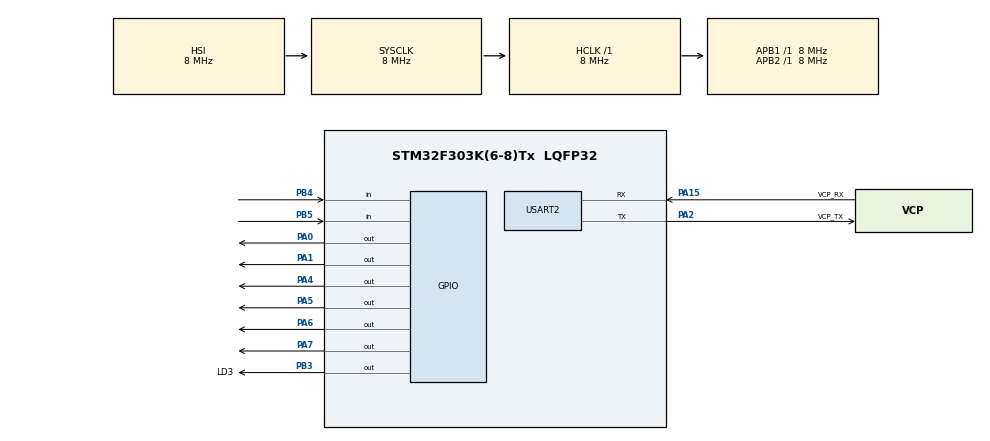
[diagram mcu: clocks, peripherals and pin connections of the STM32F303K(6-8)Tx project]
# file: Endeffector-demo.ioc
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Mcu.Family=STM32F3
Mcu.Name=STM32F303K(6-8)Tx
Mcu.Package=LQFP32
NVIC.PriorityGroup=NVIC_PRIORITYGROUP_4
PA0.Signal=GPIO_Output
PA1.Signal=GPIO_Output
PA13.GPIO_Label=SWDIO
PA13.Mode=Serial_Wire
PA13.Signal=SYS_JTMS-SWDIO
PA14.GPIO_Label=SWCLK
PA14.Mode=Serial_Wire
PA14.Signal=SYS_JTCK-SWCLK
PA15.GPIO_Label=VCP_RX
PA15.Mode=Asynchronous
PA15.Signal=USART2_RX
PA2.GPIO_Label=VCP_TX
PA2.Mode=Asynchronous
PA2.Signal=USART2_TX
PA4.Signal=GPIO_Output
PA5.Signal=GPIO_Output
PA6.Signal=GPIO_Output
PA7.Signal=GPIO_Output
PB3.GPIO_Label=LD3
PB3.Signal=GPIO_Output
PB4.Signal=GPIO_Input
PB5.Signal=GPIO_Input
PF0\ /\ OSC_IN.GPIO_Label=MCO
PF0\ /\ OSC_IN.Mode=HSE-External-Clock-Source
PF0\ /\ OSC_IN.Signal=RCC_OSC_IN
ProjectManager.HeapSize=0x200
ProjectManager.StackSize=0x400
ProjectManager.TargetToolchain=STM32CubeIDE
RCC.AHBFreq_Value=8000000
RCC.APB1Freq_Value=8000000
RCC.APB2Freq_Value=8000000
RCC.CortexFreq_Value=8000000
RCC.HSE_VALUE=8000000
RCC.HSI_VALUE=8000000
RCC.SYSCLKFreq_VALUE=8000000
USART2.VirtualMode-Asynchronous=VM_ASYNC
board=NUCLEO-F303K8

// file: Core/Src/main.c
/* USER CODE BEGIN Header */
/**
  ******************************************************************************
  * @file           : main.c
  * @brief          : Main program body
  ******************************************************************************
  * @attention
  *
  * <h2><center>&copy; Copyright (c) 2024 STMicroelectronics.
  * All rights reserved.</center></h2>
  *
  * This software component is licensed by ST under BSD 3-Clause license,
  * the "License"; You may not use this file except in compliance with the
  * License. You may obtain a copy of the License at:
  *                        opensource.org/licenses/BSD-3-Clause
  *
  ******************************************************************************
  */
/* USER CODE END Header */
#include "main.h"

UART_HandleTypeDef huart2;

void SystemClock_Config(void);
static void MX_GPIO_Init(void);
static void MX_USART2_UART_Init(void);

int main(void)
{

  /* MCU Configuration--------------------------------------------------------*/

  /* Reset of all peripherals, Initializes the Flash interface and the Systick. */
  HAL_Init();

  /* Configure the system clock */
  SystemClock_Config();

  /* Initialize all configured peripherals */
  MX_GPIO_Init();
  MX_USART2_UART_Init();

  /* Infinite loop */
  /* USER CODE BEGIN WHILE */
  while (1)
  {
	  //F303K8のボードに乗っているLED
	  /*HAL_GPIO_TogglePin(LD3_GPIO_Port, LD3_Pin);
	  HAL_Delay(1000);*/

	  //Lチカ
	  /*
	  HAL_GPIO_WritePin(GPIOA, GPIO_PIN_0, GPIO_PIN_SET);
	  HAL_Delay(1000);
	  HAL_GPIO_WritePin(GPIOA, GPIO_PIN_0, GPIO_PIN_RESET);
	  HAL_Delay(1000);
	  */

	  //タクトスイッチでLチカ
	  if(HAL_GPIO_ReadPin(GPIOB,GPIO_PIN_4) == 1){//タクトスイッチの入力(負論理)
		  HAL_GPIO_WritePin(GPIOA, GPIO_PIN_0, GPIO_PIN_SET);//LEDを点灯
	  }
	  else{
		  HAL_GPIO_WritePin(GPIOA, GPIO_PIN_0, GPIO_PIN_RESET);//LEDを消灯
	  }

	  if(HAL_GPIO_ReadPin(GPIOB,GPIO_PIN_5) == 1){//タクトスイッチの入力(負論理)
	  	  HAL_GPIO_WritePin(GPIOA, GPIO_PIN_1, GPIO_PIN_SET);//LEDを点灯
	  }
	  else{
		  HAL_GPIO_WritePin(GPIOA, GPIO_PIN_1, GPIO_PIN_RESET);//LEDを消灯
	  }

	  //モータドライバICをPHASE/ENABLEモードで動かす
	  //GPIOB,GPIO_PIN_4でモータ側にスライド
	  if(HAL_GPIO_ReadPin(GPIOB,GPIO_PIN_4) == 0){//タクトスイッチが押されたとき
		  //Aを出力
		  HAL_GPIO_WritePin(GPIOA, GPIO_PIN_7, GPIO_PIN_RESET);//A6 APHASE
		  HAL_GPIO_WritePin(GPIOA, GPIO_PIN_6, GPIO_PIN_SET);//A5 AENBL
		  HAL_GPIO_WritePin(GPIOA, GPIO_PIN_5, GPIO_PIN_RESET);//A4 BPHASE
		  HAL_GPIO_WritePin(GPIOA, GPIO_PIN_4, GPIO_PIN_RESET);//A3 BENBL
		  HAL_Delay(10);//10ms周期(100Hz)ここの数字をいじると，スライダの移動速度が変動する．電圧によってはこの周期だと動かないことがある．
		  //Bを出力
		  HAL_GPIO_WritePin(GPIOA, GPIO_PIN_7, GPIO_PIN_RESET);
		  HAL_GPIO_WritePin(GPIOA, GPIO_PIN_6, GPIO_PIN_RESET);
		  HAL_GPIO_WritePin(GPIOA, GPIO_PIN_5, GPIO_PIN_RESET);
		  HAL_GPIO_WritePin(GPIOA, GPIO_PIN_4, GPIO_PIN_SET);
		  HAL_Delay(10);
	  }
	  //GPIOB,GPIO_PIN_5でモータと反対側にスライド
	  else if(HAL_GPIO_ReadPin(GPIOB,GPIO_PIN_5) == 0){
		  //Aを出力
		  HAL_GPIO_WritePin(GPIOA, GPIO_PIN_7, GPIO_PIN_SET);
		  HAL_GPIO_WritePin(GPIOA, GPIO_PIN_6, GPIO_PIN_SET);
		  HAL_GPIO_WritePin(GPIOA, GPIO_PIN_5, GPIO_PIN_RESET);
		  HAL_GPIO_WritePin(GPIOA, GPIO_PIN_4, GPIO_PIN_RESET);
		  HAL_Delay(10);
		  //Bを出力
		  HAL_GPIO_WritePin(GPIOA, GPIO_PIN_7, GPIO_PIN_RESET);
		  HAL_GPIO_WritePin(GPIOA, GPIO_PIN_6, GPIO_PIN_RESET);
		  HAL_GPIO_WritePin(GPIOA, GPIO_PIN_5, GPIO_PIN_SET);
		  HAL_GPIO_WritePin(GPIOA, GPIO_PIN_4, GPIO_PIN_SET);
		  HAL_Delay(10);
	  }
	  //両方のスイッチが押されていないとき，ENABLEをRESETにしてモータが動作しないようにしている
	  else if(HAL_GPIO_ReadPin(GPIOB,GPIO_PIN_4) == 1 && HAL_GPIO_ReadPin(GPIOB,GPIO_PIN_5) == 1){
		  HAL_GPIO_WritePin(GPIOA, GPIO_PIN_7, GPIO_PIN_RESET);//A6 APHASE
		  HAL_GPIO_WritePin(GPIOA, GPIO_PIN_6, GPIO_PIN_RESET);//A5 AENBL
		  HAL_GPIO_WritePin(GPIOA, GPIO_PIN_5, GPIO_PIN_RESET);//A4 BPHASE
		  HAL_GPIO_WritePin(GPIOA, GPIO_PIN_4, GPIO_PIN_RESET);//A3 BENBL
	  }

    /* USER CODE END WHILE */

  }
}

void SystemClock_Config(void)
{
  RCC_OscInitTypeDef RCC_OscInitStruct = {0};
  RCC_ClkInitTypeDef RCC_ClkInitStruct = {0};

  /** Initializes the RCC Oscillators according to the specified parameters
  * in the RCC_OscInitTypeDef structure.
  */
  RCC_OscInitStruct.OscillatorType = RCC_OSCILLATORTYPE_HSI;
  RCC_OscInitStruct.HSIState = RCC_HSI_ON;
  RCC_OscInitStruct.HSICalibrationValue = RCC_HSICALIBRATION_DEFAULT;
  RCC_OscInitStruct.PLL.PLLState = RCC_PLL_NONE;
  if (HAL_RCC_OscConfig(&RCC_OscInitStruct) != HAL_OK)
  {
    Error_Handler();
  }
  /** Initializes the CPU, AHB and APB buses clocks
  */
  RCC_ClkInitStruct.ClockType = RCC_CLOCKTYPE_HCLK|RCC_CLOCKTYPE_SYSCLK
                              |RCC_CLOCKTYPE_PCLK1|RCC_CLOCKTYPE_PCLK2;
  RCC_ClkInitStruct.SYSCLKSource = RCC_SYSCLKSOURCE_HSI;
  RCC_ClkInitStruct.AHBCLKDivider = RCC_SYSCLK_DIV1;
  RCC_ClkInitStruct.APB1CLKDivider = RCC_HCLK_DIV1;
  RCC_ClkInitStruct.APB2CLKDivider = RCC_HCLK_DIV1;

  if (HAL_RCC_ClockConfig(&RCC_ClkInitStruct, FLASH_LATENCY_0) != HAL_OK)
  {
    Error_Handler();
  }
}

static void MX_USART2_UART_Init(void)
{

  huart2.Instance = USART2;
  huart2.Init.BaudRate = 38400;
  huart2.Init.WordLength = UART_WORDLENGTH_8B;
  huart2.Init.StopBits = UART_STOPBITS_1;
  huart2.Init.Parity = UART_PARITY_NONE;
  huart2.Init.Mode = UART_MODE_TX_RX;
  huart2.Init.HwFlowCtl = UART_HWCONTROL_NONE;
  huart2.Init.OverSampling = UART_OVERSAMPLING_16;
  huart2.Init.OneBitSampling = UART_ONE_BIT_SAMPLE_DISABLE;
  huart2.AdvancedInit.AdvFeatureInit = UART_ADVFEATURE_NO_INIT;
  if (HAL_UART_Init(&huart2) != HAL_OK)
  {
    Error_Handler();
  }

}

static void MX_GPIO_Init(void)
{
  GPIO_InitTypeDef GPIO_InitStruct = {0};

  /* GPIO Ports Clock Enable */
  __HAL_RCC_GPIOF_CLK_ENABLE();
  __HAL_RCC_GPIOA_CLK_ENABLE();
  __HAL_RCC_GPIOB_CLK_ENABLE();

  /*Configure GPIO pin Output Level */
  HAL_GPIO_WritePin(GPIOA, GPIO_PIN_0|GPIO_PIN_1|GPIO_PIN_4|GPIO_PIN_5
                          |GPIO_PIN_6|GPIO_PIN_7, GPIO_PIN_RESET);

  /*Configure GPIO pin Output Level */
  HAL_GPIO_WritePin(LD3_GPIO_Port, LD3_Pin, GPIO_PIN_RESET);

  /*Configure GPIO pins : PA0 PA1 PA4 PA5
                           PA6 PA7 */
  GPIO_InitStruct.Pin = GPIO_PIN_0|GPIO_PIN_1|GPIO_PIN_4|GPIO_PIN_5
                          |GPIO_PIN_6|GPIO_PIN_7;
  GPIO_InitStruct.Mode = GPIO_MODE_OUTPUT_PP;
  GPIO_InitStruct.Pull = GPIO_NOPULL;
  GPIO_InitStruct.Speed = GPIO_SPEED_FREQ_LOW;
  HAL_GPIO_Init(GPIOA, &GPIO_InitStruct);

  /*Configure GPIO pin : LD3_Pin */
  GPIO_InitStruct.Pin = LD3_Pin;
  GPIO_InitStruct.Mode = GPIO_MODE_OUTPUT_PP;
  GPIO_InitStruct.Pull = GPIO_NOPULL;
  GPIO_InitStruct.Speed = GPIO_SPEED_FREQ_LOW;
  HAL_GPIO_Init(LD3_GPIO_Port, &GPIO_InitStruct);

  /*Configure GPIO pins : PB4 PB5 */
  GPIO_InitStruct.Pin = GPIO_PIN_4|GPIO_PIN_5;
  GPIO_InitStruct.Mode = GPIO_MODE_INPUT;
  GPIO_InitStruct.Pull = GPIO_NOPULL;
  HAL_GPIO_Init(GPIOB, &GPIO_InitStruct);

}

void Error_Handler(void)
{
  __disable_irq();
  while (1)
  {
  }
}

/************************ (C) COPYRIGHT STMicroelectronics *****END OF FILE****/
